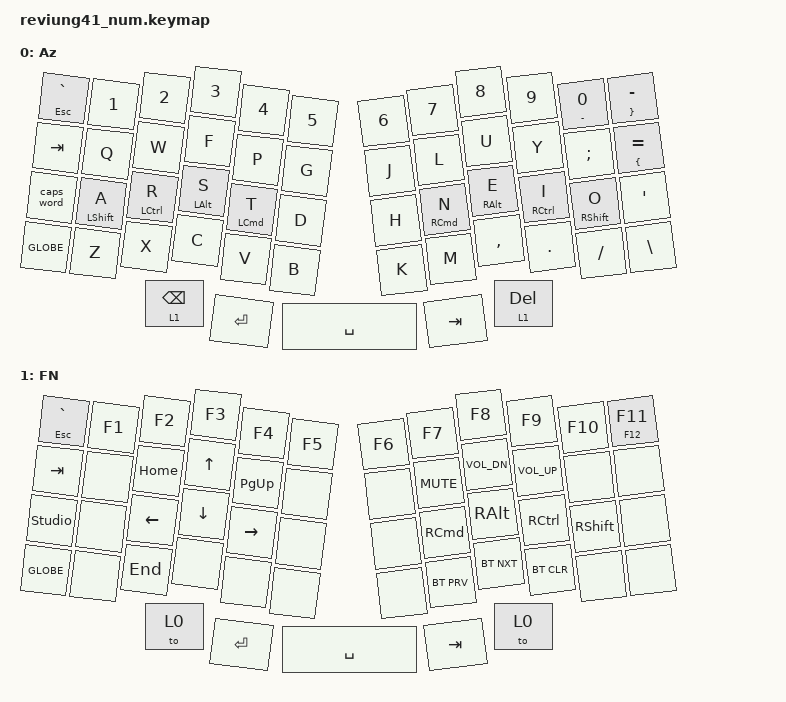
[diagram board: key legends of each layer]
/*
 * Copyright (c) 2020 The ZMK Contributors
 *
 * SPDX-License-Identifier: MIT
 */
#include <behaviors.dtsi>
#include <dt-bindings/zmk/keys.h>
#include <dt-bindings/zmk/bt.h>

&mt {
   flavor = "tap-preferred";
   quick_tap_ms = <125>;
   tapping_term_ms = <250>;
};

&lt {
   quick_tap_ms = <125>;
};

/ {
  combos {
    compatible = "zmk,combos";

    combo_ctrl {
      timeout-ms = <100>;
      key-positions = <48 52>;
      bindings = <&tog 1>;
    };
  };

  behaviors {
    tt: to_tap {
      compatible = "zmk,behavior-hold-tap";
      #binding-cells = <2>;
      flavor = "tap-preferred";
      tapping-term-ms = <250>;
      bindings = <&to>, <&kp>;
    };
  };

  keymap {
    compatible = "zmk,keymap";

    letters {
      display-name = "Az";
      bindings = <
      &mt ESC GRAVE   &kp N1        &kp N2      &kp N3     &kp N4      &kp N5          &kp N6 &kp N7     &kp N8        &kp N9        &mt MINUS N0  &mt RBRC MINUS
      &kp TAB         &kp Q         &kp W       &kp F      &kp P       &kp G           &kp J  &kp L      &kp U         &kp Y         &kp SEMI      &mt LBRC EQUAL
      &caps_word      &mt LSHIFT A  &mt LCTRL R &mt LALT S &mt LCMD T  &kp D           &kp H  &mt RCMD N &mt RALT E    &mt RCTRL I   &mt RSHFT O   &kp SQT
      &kp GLOBE       &kp Z         &kp X       &kp C      &kp V       &kp B           &kp K  &kp M      &kp COMMA     &kp DOT       &kp FSLH      &kp BSLH
                                                &lt 1 BSPC &kp RET           &kp SPACE        &kp TAB    &lt 1 DEL
      >;
    };

    function {
      display-name = "FN";
      bindings = <
      &mt ESC GRAVE   &kp F1        &kp F2      &kp F3     &kp F4      &kp F5          &kp F6 &kp F7     &kp F8        &kp F9        &kp F10       &mt F12 F11
      &kp TAB         &none         &kp HOME    &kp UP     &kp PG_UP   &none           &none  &kp C_MUTE &kp C_VOL_DN  &kp C_VOL_UP  &none         &none
      &studio_unlock  &none         &kp LEFT    &kp DOWN   &kp RIGHT   &none           &none  &kp RCMD   &kp RALT      &kp RCTRL     &kp RSHFT     &none
      &kp GLOBE       &none         &kp END     &none      &none       &none           &none  &bt BT_PRV &bt BT_NXT    &bt BT_CLR    &none         &none
                                                &to 0      &kp RET           &kp SPACE        &kp TAB    &to 0
      >;
    };
  };
};
